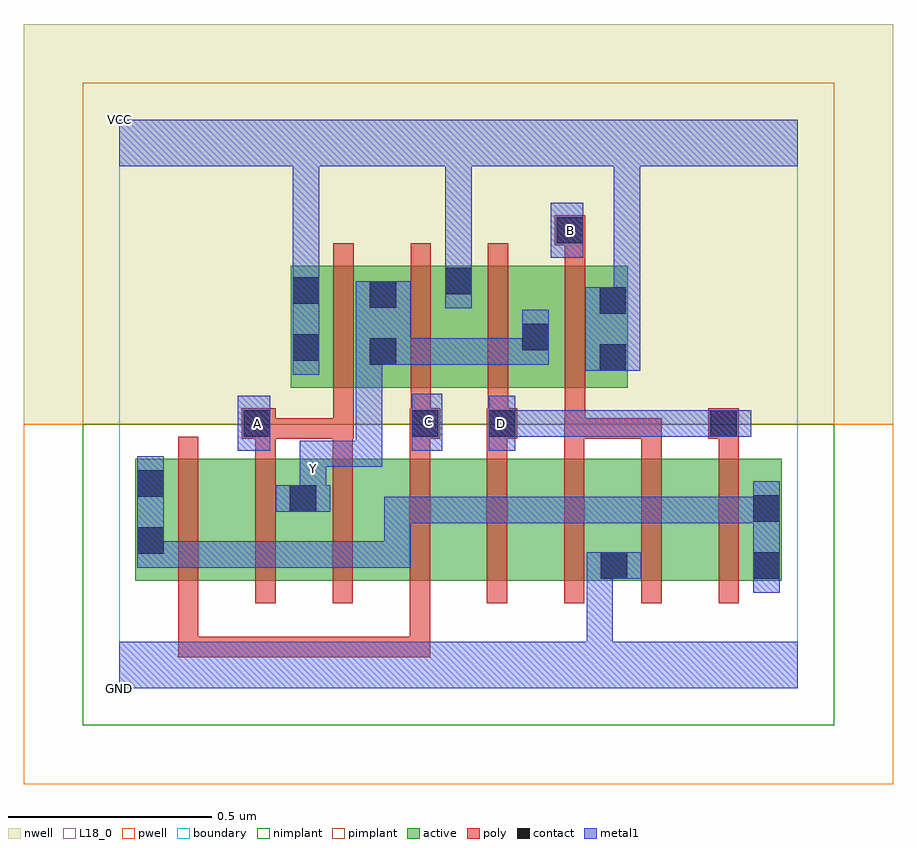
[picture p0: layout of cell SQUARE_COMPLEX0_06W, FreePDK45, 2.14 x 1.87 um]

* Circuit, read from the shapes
.subckt SQUARE_COMPLEX0_06W A B C D GND VCC Y
M1 n1 C n2 VSUBS nfet w=0.3u l=0.05u
M2 Y A n1 VSUBS nfet w=0.3u l=0.05u
M3 n3 A Y VSUBS nfet w=0.3u l=0.05u
M4 n4 C n3 VSUBS nfet w=0.3u l=0.05u
M5 n5 D n4 VSUBS nfet w=0.3u l=0.05u
M6 GND B n5 VSUBS nfet w=0.3u l=0.05u
M7 n6 B GND VSUBS nfet w=0.3u l=0.05u
M8 n2 D n6 VSUBS nfet w=0.3u l=0.05u
M9 Y A VCC n7 pfet w=0.3u l=0.05u
M10 VCC C Y n7 pfet w=0.3u l=0.05u
M11 Y D VCC n7 pfet w=0.3u l=0.05u
M12 VCC B Y n7 pfet w=0.3u l=0.05u
.ends

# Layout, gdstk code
import gdstk
lib = gdstk.Library(unit=1e-6, precision=1e-09)
def R(c, l, rs):  # rectangles x0, y0, x1, y1
    for r in rs: c.add(gdstk.rectangle(r[:2], r[2:], *l))
def A(c, l, x, y, w, h, nx, ny, dx, dy):  # array of equal rectangles
    R(c, l, [(x+i*dx, y+j*dy, x+i*dx+w, y+j*dy+h) for i in range(nx) for j in range(ny)])
active = (1, 0)
pwell = (2, 0)
nwell = (3, 0)
nimplant = (4, 0)
pimplant = (5, 0)
poly = (9, 0)
contact = (10, 0)
metal1 = (11, 0)
L18_0 = (18, 0)
boundary = (235, 0)

square_complex0_06w = lib.new_cell('SQUARE_COMPLEX0_06W')
R(square_complex0_06w, active, [(0.04,0.265,0.265,0.565), (0.265,0.265,0.49,0.565), (0.415,0.265,0.645,0.565), (0.645,0.265,0.835,0.565), (0.835,0.265,1.025,0.565), (1.025,0.265,1.255,0.565), (1.18,0.265,1.405,0.565), (1.18,0.265,1.255,0.392), (1.405,0.265,1.63,0.565), (1.555,0.265,1.63,0.565), (0.04,0.295,0.115,0.565), (0.415,0.295,0.49,0.517), (0.422,0.74,0.687,1.04), (0.422,0.74,0.497,1.017), (0.612,0.74,0.687,1.04), (0.612,0.74,0.872,1.04), (0.797,0.74,1.062,1.04), (0.987,0.74,1.062,1.04), (0.987,0.74,1.252,1.04), (1.177,0.74,1.252,1.04), (0.797,0.747,0.872,1.04)])
R(square_complex0_06w, pwell, [(-0.235,-0.235,1.905,0.65)])
R(square_complex0_06w, nwell, [(-0.235,0.65,1.905,1.635)])
R(square_complex0_06w, nimplant, [(-0.09,-0.09,1.76,0.65)])
R(square_complex0_06w, pimplant, [(-0.09,0.65,1.76,1.49)])
A(square_complex0_06w, poly, 0.145, 0.21, 0.05, 0.41, 8, 1, 0.19, 0)
A(square_complex0_06w, poly, 0.335, 0.57, 0.05, 0.095, 7, 1, 0.19, 0)
A(square_complex0_06w, poly, 0.527, 0.685, 0.05, 0.41, 4, 1, 0.19, 0)
R(square_complex0_06w, poly, [(0.145,0.077,0.195,0.127), (0.145,0.077,0.195,0.127), (0.145,0.077,0.195,0.127), (0.145,0.077,0.195,0.26), (0.145,0.077,0.442,0.127), (0.392,0.077,0.442,0.127), (0.392,0.077,0.442,0.127), (0.392,0.077,0.442,0.127), (0.392,0.077,0.575,0.127), (0.525,0.077,0.575,0.127), (0.525,0.077,0.765,0.127), (0.715,0.077,0.765,0.127), (0.715,0.077,0.765,0.127), (0.715,0.077,0.765,0.127), (0.715,0.077,0.765,0.26), (0.302,0.615,0.385,0.69), (0.335,0.615,0.575,0.665), (0.525,0.615,0.575,0.665), (0.525,0.615,0.575,0.665), (0.525,0.615,0.577,0.665), (0.527,0.615,0.577,0.735), (0.715,0.615,0.79,0.69), (0.905,0.615,0.98,0.69), (1.095,0.615,1.147,0.665), (1.097,0.615,1.335,0.665), (1.097,0.615,1.147,0.665), (1.097,0.615,1.147,0.665), (1.097,0.615,1.147,0.735), (1.285,0.615,1.335,0.665), (1.45,0.615,1.525,0.69), (0.717,0.64,0.767,0.735), (0.907,0.64,0.957,0.735), (1.097,1.045,1.147,1.14), (1.072,1.09,1.147,1.165)])
R(square_complex0_06w, contact, [(1.185,0.27,1.25,0.335), (1.56,0.27,1.625,0.335), (0.045,0.332,0.11,0.397), (1.56,0.41,1.625,0.475), (0.42,0.435,0.485,0.5), (0.045,0.472,0.11,0.537), (0.307,0.62,0.372,0.685), (0.72,0.62,0.785,0.685), (0.91,0.62,0.975,0.685), (1.455,0.62,1.52,0.685), (1.182,0.782,1.247,0.847), (0.617,0.797,0.682,0.862), (0.427,0.807,0.492,0.872), (0.992,0.832,1.057,0.897), (1.182,0.922,1.247,0.987), (0.617,0.937,0.682,1.002), (0.427,0.947,0.492,1.012), (0.802,0.97,0.867,1.035), (1.077,1.095,1.142,1.16)])
R(square_complex0_06w, metal1, [(0,0,1.67,0.115), (1.15,0.05,1.215,0.115), (1.15,0.05,1.215,0.115), (1.15,0.05,1.215,0.115), (1.15,0.05,1.215,0.115), (1.15,0.05,1.215,0.335), (1.56,0.235,1.625,0.51), (1.15,0.27,1.285,0.335), (0.045,0.297,0.11,0.362), (0.045,0.297,0.11,0.362), (0.045,0.297,0.11,0.572), (0.045,0.297,0.247,0.362), (0.182,0.297,0.247,0.362), (0.182,0.297,0.247,0.362), (0.182,0.297,0.247,0.362), (0.182,0.297,0.247,0.362), (0.182,0.297,0.247,0.362), (0.182,0.297,0.51,0.362), (0.445,0.297,0.51,0.362), (0.445,0.297,0.51,0.362), (0.445,0.297,0.51,0.362), (0.445,0.297,0.717,0.362), (0.652,0.297,0.717,0.362), (0.652,0.297,0.717,0.472), (0.652,0.407,0.717,0.472), (0.652,0.407,0.717,0.472), (0.652,0.407,0.717,0.472), (0.652,0.407,0.855,0.472), (0.79,0.407,0.855,0.472), (0.79,0.407,0.855,0.472), (0.79,0.407,0.855,0.472), (0.79,0.407,0.992,0.472), (0.927,0.407,0.992,0.472), (0.927,0.407,1.142,0.472), (1.077,0.407,1.142,0.472), (1.077,0.407,1.142,0.472), (1.077,0.407,1.142,0.472), (1.077,0.407,1.347,0.472), (1.282,0.407,1.347,0.472), (1.282,0.407,1.347,0.472), (1.282,0.407,1.347,0.472), (1.282,0.407,1.625,0.472), (1.56,0.407,1.625,0.472), (1.56,0.407,1.625,0.472), (0.385,0.435,0.52,0.5), (0.445,0.435,0.51,0.5), (0.445,0.435,0.51,0.61), (0.445,0.545,0.51,0.61), (0.445,0.545,0.51,0.61), (0.445,0.545,0.647,0.61), (0.582,0.545,0.647,0.61), (0.582,0.545,0.647,0.862), (0.292,0.585,0.372,0.72), (0.72,0.585,0.795,0.725), (0.91,0.585,0.975,0.72), (0.91,0.62,1.005,0.685), (0.94,0.62,1.005,0.685), (0.94,0.62,1.142,0.685), (1.077,0.62,1.142,0.685), (1.077,0.62,1.142,0.685), (1.077,0.62,1.142,0.685), (1.077,0.62,1.347,0.685), (1.282,0.62,1.347,0.685), (1.282,0.62,1.485,0.685), (1.42,0.62,1.485,0.685), (1.42,0.62,1.485,0.685), (1.42,0.62,1.555,0.685), (0.427,0.772,0.492,1.047), (1.147,0.782,1.282,0.987), (0.582,0.797,0.717,1.002), (0.652,0.797,0.717,0.862), (0.652,0.797,0.717,0.862), (0.652,0.797,0.855,0.862), (0.79,0.797,0.855,0.862), (0.79,0.797,0.855,0.862), (0.79,0.797,0.855,0.862), (0.79,0.797,1.057,0.862), (0.992,0.797,1.057,0.932), (1.217,0.922,1.282,1.35), (0.802,0.935,0.867,1.07), (0.427,0.982,0.492,1.35), (0.802,1.005,0.867,1.35), (1.062,1.06,1.142,1.195), (0,1.285,1.67,1.4), (0.427,1.285,0.492,1.35), (0.427,1.285,0.492,1.35), (0.427,1.285,0.492,1.35), (0.427,1.285,0.492,1.35), (0.802,1.285,0.867,1.35), (0.802,1.285,0.867,1.35), (0.802,1.285,0.867,1.35), (0.802,1.285,0.867,1.35), (1.217,1.285,1.282,1.35), (1.217,1.285,1.282,1.35), (1.217,1.285,1.282,1.35), (1.217,1.285,1.282,1.35)])
R(square_complex0_06w, L18_0, [(0,0,1.67,0.115), (1.15,0.05,1.215,0.115), (1.15,0.05,1.215,0.115), (1.15,0.05,1.215,0.115), (1.15,0.05,1.215,0.115), (1.15,0.05,1.215,0.335), (1.15,0.27,1.285,0.335), (0.385,0.435,0.52,0.5), (0.445,0.435,0.51,0.61), (0.445,0.435,0.51,0.5), (0.445,0.51,0.51,0.575), (0.445,0.545,0.51,0.61), (0.445,0.545,0.51,0.61), (0.445,0.545,0.647,0.61), (0.582,0.545,0.647,0.61), (0.582,0.545,0.647,0.862), (0.292,0.585,0.372,0.72), (0.72,0.585,0.795,0.725), (0.91,0.585,0.975,0.72), (0.307,0.62,0.372,0.685), (0.91,0.62,0.975,0.685), (0.91,0.62,1.005,0.685), (0.94,0.62,1.005,0.685), (0.94,0.62,1.142,0.685), (1.077,0.62,1.142,0.685), (1.077,0.62,1.142,0.685), (1.077,0.62,1.142,0.685), (1.077,0.62,1.347,0.685), (1.282,0.62,1.347,0.685), (1.282,0.62,1.485,0.685), (1.42,0.62,1.555,0.685), (1.42,0.62,1.485,0.685), (1.42,0.62,1.485,0.685), (0.73,0.625,0.795,0.69), (0.427,0.772,0.492,1.047), (1.147,0.782,1.282,0.987), (0.582,0.797,0.717,1.002), (0.652,0.797,0.717,0.862), (0.652,0.797,0.717,0.862), (0.652,0.797,0.855,0.862), (0.79,0.797,0.855,0.862), (0.79,0.797,0.855,0.862), (0.79,0.797,0.855,0.862), (0.79,0.797,1.057,0.862), (0.992,0.797,1.057,0.932), (1.217,0.922,1.282,1.35), (0.802,0.935,0.867,1.07), (0.427,0.982,0.492,1.35), (0.802,1.005,0.867,1.35), (1.062,1.06,1.142,1.195), (1.077,1.095,1.142,1.16), (0,1.285,1.67,1.4), (0.427,1.285,0.492,1.35), (0.427,1.285,0.492,1.35), (0.427,1.285,0.492,1.35), (0.427,1.285,0.492,1.35), (0.802,1.285,0.867,1.35), (0.802,1.285,0.867,1.35), (0.802,1.285,0.867,1.35), (0.802,1.285,0.867,1.35), (1.217,1.285,1.282,1.35), (1.217,1.285,1.282,1.35), (1.217,1.285,1.282,1.35), (1.217,1.285,1.282,1.35)])
R(square_complex0_06w, boundary, [(0,0,1.67,1.4)])
square_complex0_06w.add(gdstk.Label('A', (0.34,0.652), layer=11, texttype=0))
square_complex0_06w.add(gdstk.Label('B', (1.11,1.127), layer=11, texttype=0))
square_complex0_06w.add(gdstk.Label('C', (0.762,0.657), layer=11, texttype=0))
square_complex0_06w.add(gdstk.Label('D', (0.942,0.652), layer=11, texttype=0))
square_complex0_06w.add(gdstk.Label('Y', (0.477,0.542), layer=11, texttype=0))
square_complex0_06w.add(gdstk.Label('VCC', (0,1.4), layer=11, texttype=0))
square_complex0_06w.add(gdstk.Label('GND', (0,0), layer=11, texttype=0))

lib.write_gds('SQUARE_COMPLEX0_06W.gds')
